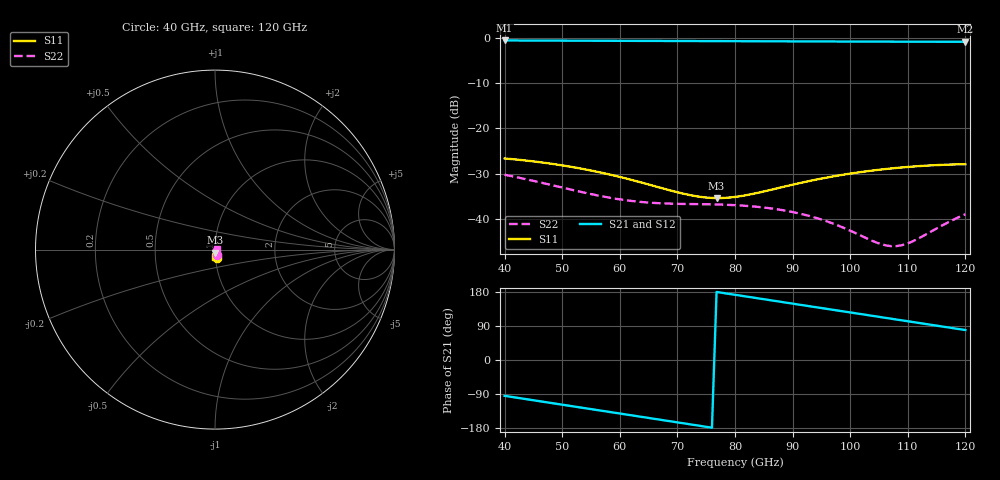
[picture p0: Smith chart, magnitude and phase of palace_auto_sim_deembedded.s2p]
! Created with skrf 1.11.0 (http://scikit-rf.org).
# GHz S DB R 50.0
!freq dBS11 angS11 dBS21 angS21 dBS12 angS12 dBS22 angS22
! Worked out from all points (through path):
!   101 points, 40 GHz to 120 GHz, reference 50 ohm
!   highest |S21| = -0.56 dB at 40 GHz (marker M1); lowest = -0.9 dB at 120 GHz (marker M2)
!   group delay of S21, straight-line fit = 6.47 ps
!   lowest |S11| = -35.4 dB at 76.8 GHz (marker M3), VSWR 1.03, Z = 50 - j1.69 ohm
!   |S11| at or under -10 dB: start of sweep to end of sweep
!   |S22| runs from -46.1 to -30.3 dB; largest |S21 - S12| = 1.1e-14
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40  -26.66 -79.1  -0.56 -94.5  -0.56 -94.5  -30.27 -72.2
43.2  -27.06 -85.4  -0.57 -102.0  -0.57 -102.0  -31.12 -76.9
46.4  -27.54 -91.4  -0.59 -109.5  -0.59 -109.5  -32.03 -80.9
49.6  -28.12 -96.8  -0.60 -117.0  -0.60 -117.0  -32.98 -83.8
53.6  -28.99 -102.8  -0.62 -126.3  -0.62 -126.3  -34.15 -86.0
60.8  -31.00 -109.9  -0.64 -143.1  -0.64 -143.1  -35.86 -86.1
67.2  -33.20 -109.5  -0.67 -158.1  -0.67 -158.1  -36.59 -85.3
72.8  -34.92 -100.8  -0.69 -171.1  -0.69 -171.1  -36.76 -87.7
76.8  -35.42 -90.2  -0.71 179.5  -0.71 179.5  -36.85 -92.0
80  -35.18 -81.5  -0.72 172.1  -0.72 172.1  -37.00 -96.9
83.2  -34.47 -74.6  -0.73 164.6  -0.73 164.6  -37.28 -103.2
86.4  -33.55 -70.2  -0.75 157.1  -0.75 157.1  -37.74 -110.8
90.4  -32.35 -67.8  -0.76 147.8  -0.76 147.8  -38.62 -122.1
93.6  -31.47 -67.7  -0.78 140.4  -0.78 140.4  -39.63 -133.0
96.8  -30.69 -68.6  -0.79 132.9  -0.79 132.9  -40.96 -146.2
100.8  -29.87 -70.7  -0.80 123.6  -0.80 123.6  -43.11 -168.1
104.8  -29.20 -73.5  -0.82 114.3  -0.82 114.3  -45.38 159.2
107.2  -28.87 -75.4  -0.82 108.8  -0.82 108.8  -46.07 132.9
108.8  -28.67 -76.7  -0.83 105.0  -0.83 105.0  -45.90 114.2
110.4  -28.50 -78.1  -0.83 101.3  -0.83 101.3  -45.25 96.6
115.2  -28.12 -82.3  -0.85 90.2  -0.85 90.2  -42.02 56.7
120  -27.94 -86.4  -0.86 79.0  -0.86 79.0  -39.00 30.6
